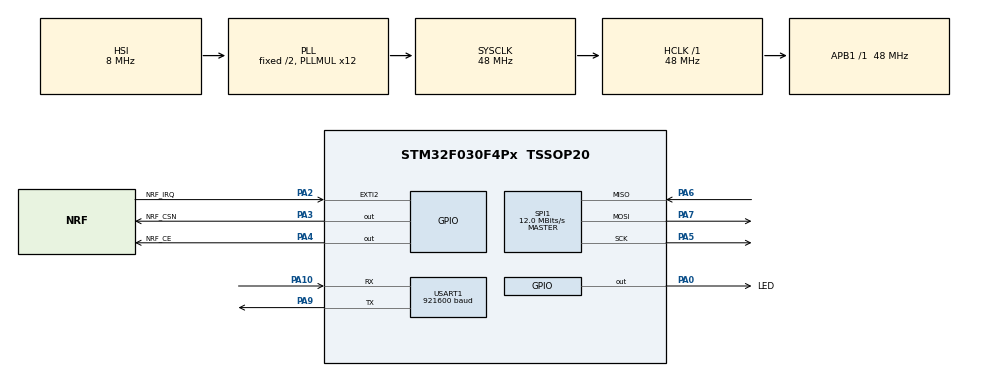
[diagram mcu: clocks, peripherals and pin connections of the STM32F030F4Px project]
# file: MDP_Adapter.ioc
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Dma.Request0=USART1_RX
Dma.Request1=USART1_TX
Dma.USART1_RX.0.Direction=DMA_PERIPH_TO_MEMORY
Dma.USART1_RX.0.Instance=DMA1_Channel3
Dma.USART1_RX.0.MemDataAlignment=DMA_MDATAALIGN_BYTE
Dma.USART1_RX.0.MemInc=DMA_MINC_ENABLE
Dma.USART1_RX.0.Mode=DMA_NORMAL
Dma.USART1_RX.0.PeriphDataAlignment=DMA_PDATAALIGN_BYTE
Dma.USART1_RX.0.PeriphInc=DMA_PINC_DISABLE
Dma.USART1_RX.0.Priority=DMA_PRIORITY_LOW
Dma.USART1_TX.1.Direction=DMA_MEMORY_TO_PERIPH
Dma.USART1_TX.1.Instance=DMA1_Channel2
Dma.USART1_TX.1.MemDataAlignment=DMA_MDATAALIGN_BYTE
Dma.USART1_TX.1.MemInc=DMA_MINC_ENABLE
Dma.USART1_TX.1.Mode=DMA_NORMAL
Dma.USART1_TX.1.PeriphDataAlignment=DMA_PDATAALIGN_BYTE
Dma.USART1_TX.1.PeriphInc=DMA_PINC_DISABLE
Dma.USART1_TX.1.Priority=DMA_PRIORITY_LOW
IWDG.Prescaler=IWDG_PRESCALER_32
Mcu.Family=STM32F0
Mcu.Name=STM32F030F4Px
Mcu.Package=TSSOP20
NVIC.DMA1_Channel2_3_IRQn=true\:2\:0\:true\:false\:true\:false\:true\:true
NVIC.EXTI2_3_IRQn=true\:3\:0\:true\:false\:true\:true\:true\:true
NVIC.USART1_IRQn=true\:1\:0\:true\:false\:true\:true\:true\:true
PA0.GPIO_Label=LED
PA0.GPIO_ModeDefaultOutputPP=GPIO_MODE_OUTPUT_OD
PA0.GPIO_PuPd=GPIO_NOPULL
PA0.PinState=GPIO_PIN_SET
PA0.Signal=GPIO_Output
PA10.Mode=Asynchronous
PA10.Signal=USART1_RX
PA13.Mode=Serial_Wire
PA13.Signal=SYS_SWDIO
PA14.Mode=Serial_Wire
PA14.Signal=SYS_SWCLK
PA2.GPIO_Label=NRF_IRQ
PA2.GPIO_ModeDefaultEXTI=GPIO_MODE_IT_FALLING
PA2.GPIO_PuPd=GPIO_PULLUP
PA2.Signal=GPXTI2
PA3.GPIO_Label=NRF_CSN
PA3.PinState=GPIO_PIN_SET
PA3.Signal=GPIO_Output
PA4.GPIO_Label=NRF_CE
PA4.Signal=GPIO_Output
PA5.Mode=Full_Duplex_Master
PA5.Signal=SPI1_SCK
PA6.Mode=Full_Duplex_Master
PA6.Signal=SPI1_MISO
PA7.Mode=Full_Duplex_Master
PA7.Signal=SPI1_MOSI
PA9.Mode=Asynchronous
PA9.Signal=USART1_TX
ProjectManager.HeapSize=0x200
ProjectManager.StackSize=0x400
ProjectManager.TargetToolchain=MDK-ARM V5.32
RCC.AHBFreq_Value=48000000
RCC.APB1Freq_Value=48000000
RCC.APB1TimFreq_Value=48000000
RCC.HCLKFreq_Value=48000000
RCC.PLLMUL=RCC_PLL_MUL12
RCC.SYSCLKFreq_VALUE=48000000
RCC.SYSCLKSource=RCC_SYSCLKSOURCE_PLLCLK
SPI1.BaudRatePrescaler=SPI_BAUDRATEPRESCALER_4
SPI1.CalculateBaudRate=12.0 MBits/s
SPI1.DataSize=SPI_DATASIZE_8BIT
SPI1.Direction=SPI_DIRECTION_2LINES
SPI1.Mode=SPI_MODE_MASTER
SPI1.VirtualType=VM_MASTER
USART1.BaudRate=921600
USART1.VirtualMode-Asynchronous=VM_ASYNC
VP_IWDG_VS_IWDG.Mode=IWDG_Activate
board=custom

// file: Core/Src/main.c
/* USER CODE BEGIN Header */
/**
  ******************************************************************************
  * @file           : main.c
  * @brief          : Main program body
  ******************************************************************************
  * @attention
  *
  * Copyright (c) 2024 STMicroelectronics.
  * All rights reserved.
  *
  * This software is licensed under terms that can be found in the LICENSE file
  * in the root directory of this software component.
  * If no LICENSE file comes with this software, it is provided AS-IS.
  *
  ******************************************************************************
  */
/* USER CODE END Header */
#include "main.h"
#include "dma.h"
#include "gpio.h"
#include "iwdg.h"
#include "spi.h"
#include "usart.h"

/* USER CODE BEGIN Includes */
#include "lfbb.h"
#include "mf.h"
#include "nrf24l01p.h"
#include "stdarg.h"
#include "stdio.h"
#include "string.h"
/* USER CODE END Includes */

void SystemClock_Config(void);
/* USER CODE BEGIN PFP */
void handle_uart_command(uint8_t cmd, uint8_t* data, size_t len);
void parse_uart_data(uint8_t* data, size_t len);
void nrf_tx_callback(uint8_t status);
void nrf_rx_callback(uint8_t status);
void USART_BRR_Configuration(UART_HandleTypeDef* huart, uint32_t BaudRate);
/* USER CODE END PFP */

/* USER CODE BEGIN 0 */

typedef struct {
    uint16_t ch_mhz;
    uint8_t air_data_rate;
    uint8_t tx_output_power;
    uint8_t crc_length;
    uint8_t payload_length;
    uint8_t auto_retransmit_count;
    uint16_t auto_retransmit_delay;
    uint8_t address_widths;
    uint8_t address_buf[5];
} NRF24L01P_Init_Type;

enum RESPONSE {
    REP_UNKNOWN_CMD = 0x00,   // unknown command
    REP_INVALID_CMD = 0x01,   // invalid command length
    REP_CMD_FAILED = 0x02,    // command failed
    REP_RESET_DONE = 0x03,    // setting reset done
    REP_BAUDRATE_SET = 0x04,  // baudrate set

    REP_NRF_SEND_OK = 0x10,        // NRF24L01P send done
    REP_NRF_SEND_FAIL = 0x11,      // NRF24L01P send failed
    REP_NRF_RECV_OK = 0x12,        // NRF24L01P receive done
    REP_NRF_RECV_FAIL = 0x13,      // NRF24L01P receive failed
    REP_NRF_FIFO_OVERFLOW = 0x15,  // NRF24L01P FIFO overflow

    REP_NRF_INIT = 0x20,       // NRF24L01P init done
    REP_NRF_SET_SAVED = 0x21,  // NRF24L01P setting saved
    REP_NRF_SET_QUERY = 0x22,  // NRF24L01P setting query result

    REP_ECHO = 0xff,  // echo
};

enum CMD {
    CMD_REBOOT = 0x00,        // reset system
    CMD_RESET = 0x03,         // reset settings
    CMD_SET_BAUDRATE = 0x04,  // set baudrate

    CMD_NRF_TX = 0x10,  // nrf24l01p tx (variable length of payload)

    CMD_NRF_SET = 0x20,    // nrf24l01p set setting (9 bytes, see nrf24l01_init)
    CMD_NRF_SAVE = 0x21,   // nrf24l01p save setting (no arg)
    CMD_NRF_QUERY = 0x22,  // nrf24l01p query setting (same as nrf24l01_init)

    CMD_ECHO = 0xff,  // echo
};

NRF24L01P_Init_Type nrf_setting = {
    2478, ADR_2Mbps, OP_7dBm, 2, 32, 3, 250, 5, {0xAA, 0xBB, 0xCC, 0xDD, 0xEE}};
uint32_t baudrate = 921600;

uint8_t mf_ok;

volatile uint8_t nrf_irq_flag = 0;

LFBB_Inst_Type tx_lfbb;
LFBB_Inst_Type rx_lfbb;
size_t tx_sending = 0;
uint8_t tx_buf[256];
uint8_t rx_buf[256];
uint8_t rx_emerg_buf[2];
uint8_t nrf_buffer[32] = {0};

uint8_t temp_buf1[64];
uint8_t temp_buf2[64];

void uart_tx_exchange(uint8_t from_irq) {
    if (!from_irq &&
        (huart1.gState != HAL_UART_STATE_READY ||
         (huart1.hdmatx && huart1.hdmatx->State != HAL_DMA_STATE_READY))) {
        return;
    }
    if (tx_sending) {
        LFBB_ReadRelease(&tx_lfbb, tx_sending);
        tx_sending = 0;
    }
    uint8_t* data = LFBB_ReadAcquire(&tx_lfbb, &tx_sending);
    if (data) {
        HAL_UART_Transmit_DMA(&huart1, data, tx_sending);
    } else {
        tx_sending = 0;
    }
}

size_t uart_tx_send(const uint8_t* data, size_t len) {
    if (!len || len > sizeof(tx_buf))
        return 0;
    uint8_t* buf = NULL;
    while (!buf)
        buf = LFBB_WriteAcquire(&tx_lfbb, len);
    memcpy(buf, data, len);
    LFBB_WriteRelease(&tx_lfbb, len);
    uart_tx_exchange(0);
    return len;
}

void HAL_UART_TxCpltCallback(UART_HandleTypeDef* huart) {
    uart_tx_exchange(1);
}

void HAL_UARTEx_RxEventCallback(UART_HandleTypeDef* huart, uint16_t Size) {
    static uint8_t overflow = 0;
    if (!overflow)
        LFBB_WriteRelease(&rx_lfbb, Size);
    else
        overflow = 0;
    size_t rx_len;
    uint8_t* rx_ptr = LFBB_WriteAcquireAlt(&rx_lfbb, &rx_len);
    if (!rx_ptr || !rx_len) {
        overflow = 1;
        HAL_UARTEx_ReceiveToIdle_DMA(&huart1, rx_emerg_buf, 2);
        return;
    }
    HAL_UARTEx_ReceiveToIdle_DMA(&huart1, rx_ptr, rx_len);
}

void uart_send_packet(uint8_t cmd, uint8_t* data1, size_t len1, uint8_t* data2,
                      size_t len2) {
    temp_buf1[0] = 0xAA;
    temp_buf1[1] = 0x66;
    temp_buf1[2] = cmd;
    temp_buf1[3] = len1 + len2;
    if (len1)
        memcpy(temp_buf1 + 4, data1, len1);
    if (len2)
        memcpy(temp_buf1 + 4 + len1, data2, len2);
    uart_tx_send(temp_buf1, 4 + len1 + len2);
}

void nrf24l01_init(NRF24L01P_Init_Type* setting) {
    nrf24l01p_reset();
    nrf24l01p_power_up();

    nrf24l01p_set_rf_channel(setting->ch_mhz);  // 2.478GHz
    nrf24l01p_set_rf_air_data_rate(setting->air_data_rate);
    nrf24l01p_set_rf_tx_output_power(setting->tx_output_power);

    nrf24l01p_set_crc_length(setting->crc_length);

    nrf24l01p_set_address_widths(setting->address_widths);
    nrf24l01p_set_tx_address(setting->address_buf, setting->address_widths);
    nrf24l01p_set_rx_address(setting->address_buf, setting->address_widths);

    nrf24l01p_rx_set_payload_widths(setting->payload_length);

    nrf24l01p_auto_retransmit_count(setting->auto_retransmit_count);
    nrf24l01p_auto_retransmit_delay(setting->auto_retransmit_delay);

    memset(nrf_buffer, 0, sizeof(nrf_buffer));
    nrf24l01p_receive(nrf_buffer, nrf_rx_callback);

    uart_send_packet(REP_NRF_INIT, NULL, 0, NULL, 0);
}

void parse_uart_data(uint8_t* data, size_t len) {
    static uint8_t buf[128];
    static uint8_t state, cmd, temp;
    static size_t dl, bp;
    while (len--) {
        temp = *data++;
        if (state == 0 && temp == 0xAA) {
            state = 1;
        } else if (state == 1 && temp == 0x55) {
            state = 2;
        } else if (state == 2) {
            cmd = temp;
            state = 3;
        } else if (state == 3) {
            if (!temp) {
                state = 0;
                handle_uart_command(cmd, NULL, 0);
                break;
            }
            dl = temp;
            bp = 0;
            state = 4;
        } else if (state == 4) {
            buf[bp++] = temp;
            if (bp >= dl) {
                state = 0;
                handle_uart_command(cmd, buf, dl);
            }
        } else {
            state = 0;
        }
    }
}

void handle_uart_command(uint8_t cmd, uint8_t* data, size_t len) {
    switch (cmd) {
        case CMD_REBOOT:  // reset
            NVIC_SystemReset();
            break;
        case CMD_RESET:
            if (!mf_ok) {
                uart_send_packet(REP_CMD_FAILED, NULL, 0, NULL, 0);
                break;
            }
            mf_purge();
            uart_send_packet(REP_RESET_DONE, NULL, 0, NULL, 0);
            HAL_Delay(100);
            NVIC_SystemReset();
            break;
        case CMD_SET_BAUDRATE:
            if (len < 3) {
                uart_send_packet(REP_INVALID_CMD, NULL, 0, NULL, 0);
                break;
            }
            baudrate = data[2] + data[1] * 100 + data[0] * 10000;
            uart_send_packet(REP_BAUDRATE_SET, NULL, 0, NULL, 0);
            HAL_Delay(100);
            USART_BRR_Configuration(&huart1, baudrate);
            if (mf_ok) {
                mf_set_key("baudrate", &baudrate, sizeof(baudrate));
                mf_save();
            }
            break;
        case CMD_NRF_TX:  // nrf24l01p tx
            memset(nrf_buffer, 0, sizeof(nrf_buffer));
            memcpy(nrf_buffer, data, len);
            if (!nrf24l01p_transmit_then_receive(nrf_buffer, nrf_tx_callback)) {
                uart_send_packet(REP_NRF_FIFO_OVERFLOW, NULL, 0, NULL, 0);
            }
            break;
        case CMD_NRF_SET:  // nrf24l01p setting
            if (len < 13) {
                uart_send_packet(REP_INVALID_CMD, NULL, 0, NULL, 0);
                break;
            }
            nrf_setting.ch_mhz = data[0] + 2400,
            nrf_setting.air_data_rate = data[1],
            nrf_setting.tx_output_power = data[2],
            nrf_setting.crc_length = data[3],
            nrf_setting.payload_length = data[4],
            nrf_setting.auto_retransmit_count = data[5],
            nrf_setting.auto_retransmit_delay = data[6] * 250,
            nrf_setting.address_widths = data[7],
            nrf_setting.address_buf[0] = data[8];
            nrf_setting.address_buf[1] = data[9];
            nrf_setting.address_buf[2] = data[10];
            nrf_setting.address_buf[3] = data[11];
            nrf_setting.address_buf[4] = data[12];
            nrf24l01_init(&nrf_setting);
            break;
        case CMD_NRF_SAVE:  // nrf24l01p setting save
            if (mf_ok) {
                mf_set_key("nrf_setting", &nrf_setting, sizeof(nrf_setting));
                mf_save();
                uart_send_packet(REP_NRF_SET_SAVED, NULL, 0, NULL, 0);
            } else {
                uart_send_packet(REP_CMD_FAILED, NULL, 0, NULL, 0);
            }
            break;
        case CMD_NRF_QUERY:  // nrf24l01p setting read
            temp_buf2[0] = nrf_setting.ch_mhz - 2400,
            temp_buf2[1] = nrf_setting.air_data_rate,
            temp_buf2[2] = nrf_setting.tx_output_power,
            temp_buf2[3] = nrf_setting.crc_length,
            temp_buf2[4] = nrf_setting.payload_length,
            temp_buf2[5] = nrf_setting.auto_retransmit_count,
            temp_buf2[6] = nrf_setting.auto_retransmit_delay / 250,
            temp_buf2[7] = nrf_setting.address_widths;
            temp_buf2[8] = nrf_setting.address_buf[0];
            temp_buf2[9] = nrf_setting.address_buf[1];
            temp_buf2[10] = nrf_setting.address_buf[2];
            temp_buf2[11] = nrf_setting.address_buf[3];
            temp_buf2[12] = nrf_setting.address_buf[4];
            uart_send_packet(REP_NRF_SET_QUERY, temp_buf2, 13, NULL, 0);
            break;
        case CMD_ECHO:  // echo
            uart_send_packet(REP_ECHO, NULL, 0, NULL, 0);
            break;
        default:
            uart_send_packet(REP_UNKNOWN_CMD, NULL, 0, NULL, 0);
            break;
    }
    return;
}

void HAL_GPIO_EXTI_Callback(uint16_t GPIO_Pin) {
    // nrf_irq_flag = 1;
    nrf24l01p_irq();
}

void nrf_tx_callback(uint8_t status) {
    if (status) {
        uart_send_packet(REP_NRF_SEND_OK, NULL, 0, NULL, 0);
    } else {
        uart_send_packet(REP_NRF_SEND_FAIL, NULL, 0, NULL, 0);
    }
}

void nrf_rx_callback(uint8_t status) {
    if (status) {
        uart_send_packet(REP_NRF_RECV_OK, nrf_buffer,
                         nrf24l01p_get_payload_width(), NULL, 0);
    } else {
        uart_send_packet(REP_NRF_RECV_FAIL, NULL, 0, NULL, 0);
    }
}

/* USER CODE END 0 */

int main(void) {

    /* MCU Configuration--------------------------------------------------------*/

    /* Reset of all peripherals, Initializes the Flash interface and the Systick. */
    HAL_Init();

    /* Configure the system clock */
    SystemClock_Config();

    /* Initialize all configured peripherals */
    MX_GPIO_Init();
    MX_DMA_Init();
    MX_USART1_UART_Init();
    MX_SPI1_Init();
    MX_IWDG_Init();
    /* USER CODE BEGIN 2 */
    LFBB_Init(&tx_lfbb, tx_buf, sizeof(tx_buf));
    LFBB_Init(&rx_lfbb, rx_buf, sizeof(rx_buf));
    size_t rx_len;
    uint8_t* rx_ptr = LFBB_WriteAcquireAlt(&rx_lfbb, &rx_len);
    HAL_UARTEx_ReceiveToIdle_DMA(&huart1, rx_ptr, rx_len);

    if (mf_init() == MF_OK) {
        mf_ok = 1;
        mf_sync_key("nrf_setting", &nrf_setting, sizeof(nrf_setting));
        mf_sync_key("baudrate", &baudrate, sizeof(baudrate));
        if (baudrate && baudrate != 921600) {
            USART_BRR_Configuration(&huart1, baudrate);
        }
    } else {
        mf_ok = 0;
    }

    nrf24l01_init(&nrf_setting);

    for (uint8_t i = 0; i < 4 + mf_ok * 2; i++) {
        HAL_GPIO_TogglePin(LED_GPIO_Port, LED_Pin);
        HAL_Delay(100);
    }

    /* USER CODE END 2 */

    /* Infinite loop */
    /* USER CODE BEGIN WHILE */
    uint32_t tick100ms = HAL_GetTick();
    while (1) {
        rx_ptr = LFBB_ReadAcquire(&rx_lfbb, &rx_len);
        if (rx_ptr && rx_len) {
            parse_uart_data(rx_ptr, rx_len);
            LFBB_ReadRelease(&rx_lfbb, rx_len);
        }
        if (HAL_GetTick() - tick100ms >= 100) {
            tick100ms = HAL_GetTick();
            HAL_IWDG_Refresh(&hiwdg);
        }
        /* USER CODE END WHILE */

    }
}

void SystemClock_Config(void) {
    RCC_OscInitTypeDef RCC_OscInitStruct = {0};
    RCC_ClkInitTypeDef RCC_ClkInitStruct = {0};
    RCC_PeriphCLKInitTypeDef PeriphClkInit = {0};

    /** Initializes the RCC Oscillators according to the specified parameters
  * in the RCC_OscInitTypeDef structure.
  */
    RCC_OscInitStruct.OscillatorType =
        RCC_OSCILLATORTYPE_HSI | RCC_OSCILLATORTYPE_LSI;
    RCC_OscInitStruct.HSIState = RCC_HSI_ON;
    RCC_OscInitStruct.HSICalibrationValue = RCC_HSICALIBRATION_DEFAULT;
    RCC_OscInitStruct.LSIState = RCC_LSI_ON;
    RCC_OscInitStruct.PLL.PLLState = RCC_PLL_ON;
    RCC_OscInitStruct.PLL.PLLSource = RCC_PLLSOURCE_HSI;
    RCC_OscInitStruct.PLL.PLLMUL = RCC_PLL_MUL12;
    RCC_OscInitStruct.PLL.PREDIV = RCC_PREDIV_DIV1;
    if (HAL_RCC_OscConfig(&RCC_OscInitStruct) != HAL_OK) {
        Error_Handler();
    }

    /** Initializes the CPU, AHB and APB buses clocks
  */
    RCC_ClkInitStruct.ClockType =
        RCC_CLOCKTYPE_HCLK | RCC_CLOCKTYPE_SYSCLK | RCC_CLOCKTYPE_PCLK1;
    RCC_ClkInitStruct.SYSCLKSource = RCC_SYSCLKSOURCE_PLLCLK;
    RCC_ClkInitStruct.AHBCLKDivider = RCC_SYSCLK_DIV1;
    RCC_ClkInitStruct.APB1CLKDivider = RCC_HCLK_DIV1;

    if (HAL_RCC_ClockConfig(&RCC_ClkInitStruct, FLASH_LATENCY_1) != HAL_OK) {
        Error_Handler();
    }
    PeriphClkInit.PeriphClockSelection = RCC_PERIPHCLK_USART1;
    PeriphClkInit.Usart1ClockSelection = RCC_USART1CLKSOURCE_PCLK1;
    if (HAL_RCCEx_PeriphCLKConfig(&PeriphClkInit) != HAL_OK) {
        Error_Handler();
    }
}

/* USER CODE BEGIN 4 */

void USART_BRR_Configuration(UART_HandleTypeDef* huart, uint32_t BaudRate) {
#define UART_BRR_MIN 0x10U       /* UART BRR minimum authorized value */
#define UART_BRR_MAX 0x0000FFFFU /* UART BRR maximum authorized value */
    huart->Init.BaudRate = BaudRate;
    uint32_t pclk;
    uint16_t brrtemp;
    uint32_t usartdiv;
    UART_ClockSourceTypeDef clocksource;
    UART_GETCLOCKSOURCE(huart, clocksource);
    if (huart->Init.OverSampling == UART_OVERSAMPLING_8) {
        switch (clocksource) {
            case UART_CLOCKSOURCE_PCLK1:
                pclk = HAL_RCC_GetPCLK1Freq();
                break;
            case UART_CLOCKSOURCE_HSI:
                pclk = (uint32_t)HSI_VALUE;
                break;
            case UART_CLOCKSOURCE_SYSCLK:
                pclk = HAL_RCC_GetSysClockFreq();
                break;
            case UART_CLOCKSOURCE_LSE:
                pclk = (uint32_t)LSE_VALUE;
                break;
            default:
                pclk = 0U;
                break;
        }

        /* USARTDIV must be greater than or equal to 0d16 */
        if (pclk != 0U) {
            usartdiv =
                (uint32_t)(UART_DIV_SAMPLING8(pclk, huart->Init.BaudRate));
            if ((usartdiv >= UART_BRR_MIN) && (usartdiv <= UART_BRR_MAX)) {
                brrtemp = (uint16_t)(usartdiv & 0xFFF0U);
                brrtemp |= (uint16_t)((usartdiv & (uint16_t)0x000FU) >> 1U);
                huart->Instance->BRR = brrtemp;
            }
        }
    } else {
        switch (clocksource) {
            case UART_CLOCKSOURCE_PCLK1:
                pclk = HAL_RCC_GetPCLK1Freq();
                break;
            case UART_CLOCKSOURCE_HSI:
                pclk = (uint32_t)HSI_VALUE;
                break;
            case UART_CLOCKSOURCE_SYSCLK:
                pclk = HAL_RCC_GetSysClockFreq();
                break;
            case UART_CLOCKSOURCE_LSE:
                pclk = (uint32_t)LSE_VALUE;
                break;
            default:
                pclk = 0U;
                break;
        }

        if (pclk != 0U) {
            /* USARTDIV must be greater than or equal to 0d16 */
            usartdiv =
                (uint32_t)(UART_DIV_SAMPLING16(pclk, huart->Init.BaudRate));
            if ((usartdiv >= UART_BRR_MIN) && (usartdiv <= UART_BRR_MAX)) {
                huart->Instance->BRR = (uint16_t)usartdiv;
            }
        }
    }
}

void uart_error_process(UART_HandleTypeDef* huart) {
    if (huart->Instance != USART1) {
        return;
    }
    if ((__HAL_UART_GET_FLAG(huart, UART_FLAG_PE)) != 0) {  // 奇偶校验错误
        __HAL_UNLOCK(huart);
        __HAL_UART_CLEAR_PEFLAG(huart);
    }
    if ((__HAL_UART_GET_FLAG(huart, UART_FLAG_FE)) != 0) {  // 帧错误
        __HAL_UNLOCK(huart);
        __HAL_UART_CLEAR_FEFLAG(huart);
    }
    if ((__HAL_UART_GET_FLAG(huart, UART_FLAG_NE)) != 0) {  // 噪声错误
        __HAL_UNLOCK(huart);
        __HAL_UART_CLEAR_NEFLAG(huart);
    }
    if ((__HAL_UART_GET_FLAG(huart, UART_FLAG_ORE)) != 0) {  // 接收溢出
        __HAL_UNLOCK(huart);
        __HAL_UART_CLEAR_OREFLAG(huart);
    }
    HAL_UART_MspDeInit(huart);
    MX_USART1_UART_Init();
    LFBB_Init(&rx_lfbb, rx_buf, sizeof(rx_buf));
    size_t rx_len;
    uint8_t* rx_ptr = LFBB_WriteAcquireAlt(&rx_lfbb, &rx_len);
    HAL_UARTEx_ReceiveToIdle_DMA(&huart1, rx_ptr, rx_len);
}

/* USER CODE END 4 */

void Error_Handler(void) {
    __disable_irq();
    while (1) {}
}
